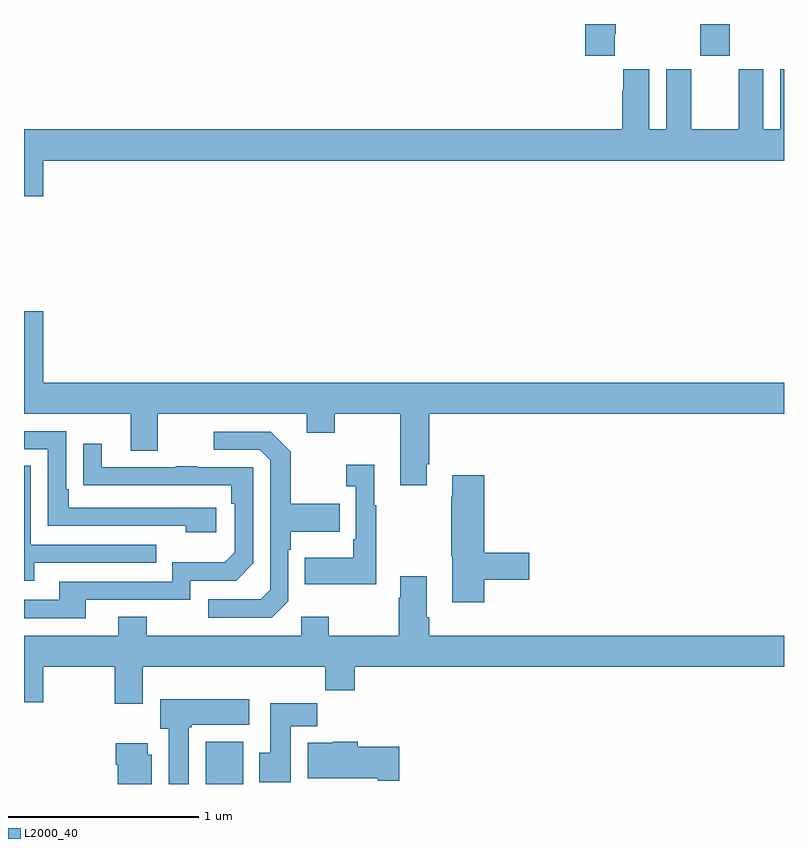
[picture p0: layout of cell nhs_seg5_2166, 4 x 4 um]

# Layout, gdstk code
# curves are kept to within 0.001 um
import gdstk
lib = gdstk.Library(unit=1e-6, precision=1e-09)
def R(c, l, rs):  # rectangles x0, y0, x1, y1
    for r in rs: c.add(gdstk.rectangle(r[:2], r[2:], *l))
def P(c, l, *ps):  # polygons
    for p in ps: c.add(gdstk.Polygon(p, *l))
L2000_40 = (2000, 40)

nhs_seg5_2166 = lib.new_cell('nhs_seg5_2166')
R(nhs_seg5_2166, L2000_40, [(237.956,866.799,238.153,867.022), (240.559,870.633,240.714,870.799)])
P(nhs_seg5_2166, L2000_40, [(239.954,870.633),(240.109,870.633),(240.109,870.745),(240.114,870.745),(240.114,870.799),(239.954,870.799)],
  [(237.1,870.08),(241,870.08),(241,870.562),(240.98,870.562),(240.98,870.244),(240.892,870.244),(240.892,870.562),(240.761,870.562),(240.761,870.244),(240.511,870.244),(240.511,870.562),(240.38,870.562),(240.38,870.244),(240.292,870.244),(240.292,870.562),(240.155,870.562),(240.155,870.449),(240.149,870.449),(240.149,870.244),(237,870.244),(237,869.892),(237.1,869.892)],
  [(239.119,868.483),(239.132,868.483),(239.132,868.748),(241,868.748),(241,868.912),(237.1,868.912),(237.1,869.287),(237,869.287),(237,868.748),(237.563,868.748),(237.563,868.554),(237.703,868.554),(237.703,868.748),(238.487,868.748),(238.487,868.649),(238.635,868.649),(238.635,868.748),(238.979,868.748),(238.979,868.371),(239.119,868.371)],
  [(238.012,868.254),(237.235,868.254),(237.235,868.351),(237.222,868.351),(237.222,868.656),(237,868.656),(237,868.56),(237.126,868.56),(237.126,868.158),(237.851,868.158),(237.851,868.124),(238.012,868.124)],
  [(238.392,867.762),(238.392,868.031),(238.405,868.031),(238.405,868.127),(238.661,868.127),(238.661,868.275),(238.405,868.275),(238.405,868.547),(238.299,868.653),(237.999,868.653),(237.999,868.557),(238.242,868.557),(238.296,868.503),(238.296,867.822),(238.245,867.771),(237.969,867.771),(237.969,867.675),(238.305,867.675)],
  [(237.325,867.768),(237.876,867.768),(237.876,867.87),(238.116,867.87),(238.206,867.96),(238.206,868.467),(237.911,868.467),(237.911,868.472),(237.799,868.472),(237.799,868.467),(237.409,868.467),(237.409,868.591),(237.313,868.591),(237.313,868.372),(238.09,868.371),(238.09,868.274),(238.11,868.274),(238.11,868.02),(238.057,867.967),(237.78,867.967),(237.78,867.864),(237.185,867.864),(237.185,867.768),(237,867.768),(237,867.672),(237.325,867.672)],
  [(238.855,868.267),(238.843,868.267),(238.843,868.48),(238.695,868.48),(238.695,868.367),(238.746,868.367),(238.746,868.087),(238.734,868.087),(238.734,867.991),(238.477,867.991),(238.477,867.851),(238.855,867.851)],
  [(237.055,867.963),(237.695,867.963),(237.695,868.059),(237.036,868.059),(237.036,868.475),(237,868.475),(237,867.869),(237.055,867.869)],
  [(239.423,867.874),(239.659,867.874),(239.659,868.016),(239.423,868.016),(239.423,868.423),(239.255,868.423),(239.255,868.31),(239.248,868.31),(239.248,867.999),(239.255,867.999),(239.255,867.756),(239.423,867.756)],
  [(237.625,867.416),(238.585,867.416),(238.585,867.292),(238.742,867.292),(238.742,867.416),(241,867.416),(241,867.58),(239.132,867.58),(239.132,867.676),(239.119,867.676),(239.119,867.892),(238.979,867.892),(238.979,867.779),(238.972,867.779),(238.972,867.58),(238.605,867.58),(238.605,867.679),(238.458,867.679),(238.458,867.58),(237.645,867.58),(237.645,867.679),(237.497,867.679),(237.497,867.58),(237,867.58),(237,867.228),(237.1,867.228),(237.1,867.416),(237.478,867.416),(237.478,867.222),(237.625,867.222)],
  [(237.868,867.097),(237.882,867.097),(237.882,867.11),(238.186,867.11),(238.186,867.244),(237.716,867.244),(237.716,867.09),(237.761,867.09),(237.761,866.799),(237.868,866.799)],
  [(238.405,867.104),(238.544,867.104),(238.544,867.223),(238.295,867.223),(238.295,866.964),(238.238,866.964),(238.238,866.808),(238.405,866.808)],
  [(238.975,866.994),(238.757,866.994),(238.757,867.022),(238.626,867.022),(238.626,867.016),(238.493,867.016),(238.493,866.828),(238.862,866.828),(238.862,866.816),(238.975,866.816)],
  [(237.673,866.952),(237.652,866.952),(237.652,867.013),(237.482,867.013),(237.482,866.9),(237.494,866.9),(237.494,866.799),(237.673,866.799)])

lib.write_gds('nhs_seg5_2166.gds')
